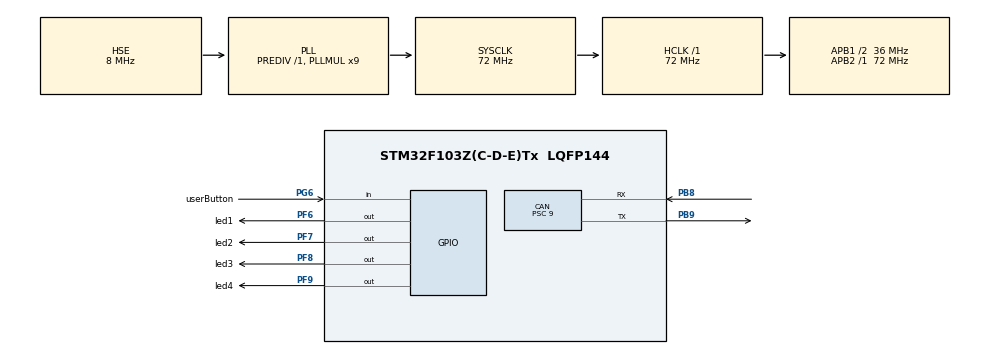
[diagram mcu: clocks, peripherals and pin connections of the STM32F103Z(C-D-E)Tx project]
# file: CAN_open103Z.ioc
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CAN.ABOM=ENABLE
CAN.BS1=CAN_BS1_13TQ
CAN.BS2=CAN_BS2_2TQ
CAN.CalculateBaudRate=250000
CAN.CalculateTimeBit=4000
CAN.CalculateTimeQuantum=250.0
CAN.Mode=CAN_MODE_SILENT_LOOPBACK
CAN.NART=ENABLE
CAN.Prescaler=9
CAN.TXFP=ENABLE
Mcu.Family=STM32F1
Mcu.Name=STM32F103Z(C-D-E)Tx
Mcu.Package=LQFP144
NVIC.CAN1_SCE_IRQn=true\:0\:0\:false\:false\:true\:true\:true\:true
NVIC.PriorityGroup=NVIC_PRIORITYGROUP_4
NVIC.USB_LP_CAN1_RX0_IRQn=true\:0\:0\:false\:false\:true\:true\:true\:true
OSC_IN.Mode=HSE-External-Oscillator
OSC_IN.Signal=RCC_OSC_IN
OSC_OUT.Mode=HSE-External-Oscillator
OSC_OUT.Signal=RCC_OSC_OUT
PA13.Mode=Serial_Wire
PA13.Signal=SYS_JTMS-SWDIO
PA14.Mode=Serial_Wire
PA14.Signal=SYS_JTCK-SWCLK
PB8.Mode=CAN_Activate
PB8.Signal=CAN_RX
PB9.Mode=CAN_Activate
PB9.Signal=CAN_TX
PF6.GPIO_Label=led1
PF6.Signal=GPIO_Output
PF7.GPIO_Label=led2
PF7.Signal=GPIO_Output
PF8.GPIO_Label=led3
PF8.Signal=GPIO_Output
PF9.GPIO_Label=led4
PF9.Signal=GPIO_Output
PG6.GPIO_Label=userButton
PG6.Signal=GPIO_Input
ProjectManager.HeapSize=0x200
ProjectManager.StackSize=0x400
ProjectManager.TargetToolchain=MDK-ARM V5.32
RCC.AHBFreq_Value=72000000
RCC.APB1CLKDivider=RCC_HCLK_DIV2
RCC.APB1Freq_Value=36000000
RCC.APB1TimFreq_Value=72000000
RCC.APB2Freq_Value=72000000
RCC.APB2TimFreq_Value=72000000
RCC.HCLKFreq_Value=72000000
RCC.PLLMUL=RCC_PLL_MUL9
RCC.PLLSourceVirtual=RCC_PLLSOURCE_HSE
RCC.SYSCLKFreq_VALUE=72000000
RCC.SYSCLKSource=RCC_SYSCLKSOURCE_PLLCLK
RCC.USBFreq_Value=72000000
board=custom

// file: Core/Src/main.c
/* USER CODE BEGIN Header */
/**
  ******************************************************************************
  * @file           : main.c
  * @brief          : Main program body
  ******************************************************************************
  * @attention
  *
  * Copyright (c) 2023 STMicroelectronics.
  * All rights reserved.
  *
  * This software is licensed under terms that can be found in the LICENSE file
  * in the root directory of this software component.
  * If no LICENSE file comes with this software, it is provided AS-IS.
  *
  ******************************************************************************
  */
/* USER CODE END Header */
#include "main.h"
#include "can.h"
#include "gpio.h"

/* USER CODE BEGIN PV */
uint8_t pulse;
uint8_t pulse2;
uint8_t butSost;

CAN_TxHeaderTypeDef TxHeader;
CAN_RxHeaderTypeDef RxHeader;
uint8_t TxData[8] = {0,};
uint8_t RxData[8] = {0,};
uint32_t TxMailbox = 0;
/* USER CODE END PV */

void SystemClock_Config(void);
/* USER CODE BEGIN PFP */
void ledBlink(uint8_t timeBlink);
/* USER CODE END PFP */

/* USER CODE BEGIN 0 */
void HAL_CAN_RxFifo0MsgPendingCallback(CAN_HandleTypeDef *hcan)
{
    if(HAL_CAN_GetRxMessage(hcan, CAN_RX_FIFO0, &RxHeader, RxData) == HAL_OK)
    {
       pulse2 = RxData[7];
       HAL_GPIO_TogglePin(led1_GPIO_Port, led1_Pin);
    }
}
/* USER CODE END 0 */

int main(void)
{

  /* MCU Configuration--------------------------------------------------------*/

  /* Reset of all peripherals, Initializes the Flash interface and the Systick. */
  HAL_Init();

  /* Configure the system clock */
  SystemClock_Config();

  /* Initialize all configured peripherals */
  MX_GPIO_Init();
  MX_CAN_Init();
  /* USER CODE BEGIN 2 */
  TxHeader.StdId = 0x0111;
  TxHeader.ExtId = 0;
  TxHeader.RTR = CAN_RTR_DATA; //CAN_RTR_REMOTE
  TxHeader.IDE = CAN_ID_STD;   // CAN_ID_EXT
  TxHeader.DLC = 8;
  TxHeader.TransmitGlobalTime = 0;

  HAL_CAN_Start(&hcan);
  HAL_CAN_ActivateNotification(&hcan, CAN_IT_RX_FIFO0_MSG_PENDING | CAN_IT_ERROR | CAN_IT_BUSOFF | CAN_IT_LAST_ERROR_CODE);
  /* USER CODE END 2 */

  /* Infinite loop */
  while (1)
  {
    ledBlink(pulse2);

    butSost = HAL_GPIO_ReadPin(userButton_GPIO_Port, userButton_Pin);
    if(butSost == 0) {
      while(butSost == 0) {
        butSost = HAL_GPIO_ReadPin(userButton_GPIO_Port, userButton_Pin);
      }
      pulse += 1;
    }
    if(pulse >= 3) {
      pulse = 0;
    }

    TxData[7] = pulse;

    if(HAL_CAN_GetTxMailboxesFreeLevel(&hcan) != 0) {
      HAL_CAN_AddTxMessage(&hcan, &TxHeader, TxData, &TxMailbox);
    }

    HAL_Delay(200);

  }
}

void SystemClock_Config(void)
{
  RCC_OscInitTypeDef RCC_OscInitStruct = {0};
  RCC_ClkInitTypeDef RCC_ClkInitStruct = {0};

  /** Initializes the RCC Oscillators according to the specified parameters
  * in the RCC_OscInitTypeDef structure.
  */
  RCC_OscInitStruct.OscillatorType = RCC_OSCILLATORTYPE_HSE;
  RCC_OscInitStruct.HSEState = RCC_HSE_ON;
  RCC_OscInitStruct.HSEPredivValue = RCC_HSE_PREDIV_DIV1;
  RCC_OscInitStruct.HSIState = RCC_HSI_ON;
  RCC_OscInitStruct.PLL.PLLState = RCC_PLL_ON;
  RCC_OscInitStruct.PLL.PLLSource = RCC_PLLSOURCE_HSE;
  RCC_OscInitStruct.PLL.PLLMUL = RCC_PLL_MUL9;
  if (HAL_RCC_OscConfig(&RCC_OscInitStruct) != HAL_OK)
  {
    Error_Handler();
  }

  /** Initializes the CPU, AHB and APB buses clocks
  */
  RCC_ClkInitStruct.ClockType = RCC_CLOCKTYPE_HCLK|RCC_CLOCKTYPE_SYSCLK
                              |RCC_CLOCKTYPE_PCLK1|RCC_CLOCKTYPE_PCLK2;
  RCC_ClkInitStruct.SYSCLKSource = RCC_SYSCLKSOURCE_PLLCLK;
  RCC_ClkInitStruct.AHBCLKDivider = RCC_SYSCLK_DIV1;
  RCC_ClkInitStruct.APB1CLKDivider = RCC_HCLK_DIV2;
  RCC_ClkInitStruct.APB2CLKDivider = RCC_HCLK_DIV1;

  if (HAL_RCC_ClockConfig(&RCC_ClkInitStruct, FLASH_LATENCY_2) != HAL_OK)
  {
    Error_Handler();
  }
}

void Error_Handler(void)
{
  __disable_irq();
  while (1)
  {
  }
}

void ledBlink(uint8_t timeBlink) {

  switch (timeBlink) {
  	case 1:
      HAL_GPIO_WritePin(led1_GPIO_Port, led2_Pin, GPIO_PIN_SET);
  	  HAL_GPIO_WritePin(led1_GPIO_Port, led3_Pin|led4_Pin, GPIO_PIN_RESET);
  		break;

  	case 2:
  	  HAL_GPIO_WritePin(led1_GPIO_Port, led3_Pin, GPIO_PIN_SET);
  	  HAL_GPIO_WritePin(led1_GPIO_Port, led2_Pin|led4_Pin, GPIO_PIN_RESET);
  		break;

    case 3:
  	  HAL_GPIO_WritePin(led1_GPIO_Port, led4_Pin, GPIO_PIN_SET);
  	  HAL_GPIO_WritePin(led1_GPIO_Port, led3_Pin|led2_Pin, GPIO_PIN_RESET);
  		break;

  	default:
  	  HAL_GPIO_WritePin(led1_GPIO_Port, led2_Pin|led3_Pin|led4_Pin, GPIO_PIN_RESET);
  		break;
  }

//  if(timeBlink == 0) {
//    HAL_GPIO_WritePin(led1_GPIO_Port, led2_Pin|led3_Pin|led4_Pin, GPIO_PIN_RESET);
//  } else {
//      HAL_GPIO_WritePin(led1_GPIO_Port, led2_Pin|led3_Pin|led4_Pin, GPIO_PIN_SET);
//      HAL_Delay(timeBlink * 10);
//      HAL_GPIO_WritePin(led1_GPIO_Port, led2_Pin|led3_Pin|led4_Pin, GPIO_PIN_RESET);
//      HAL_Delay(timeBlink * 10);
//  }

}
